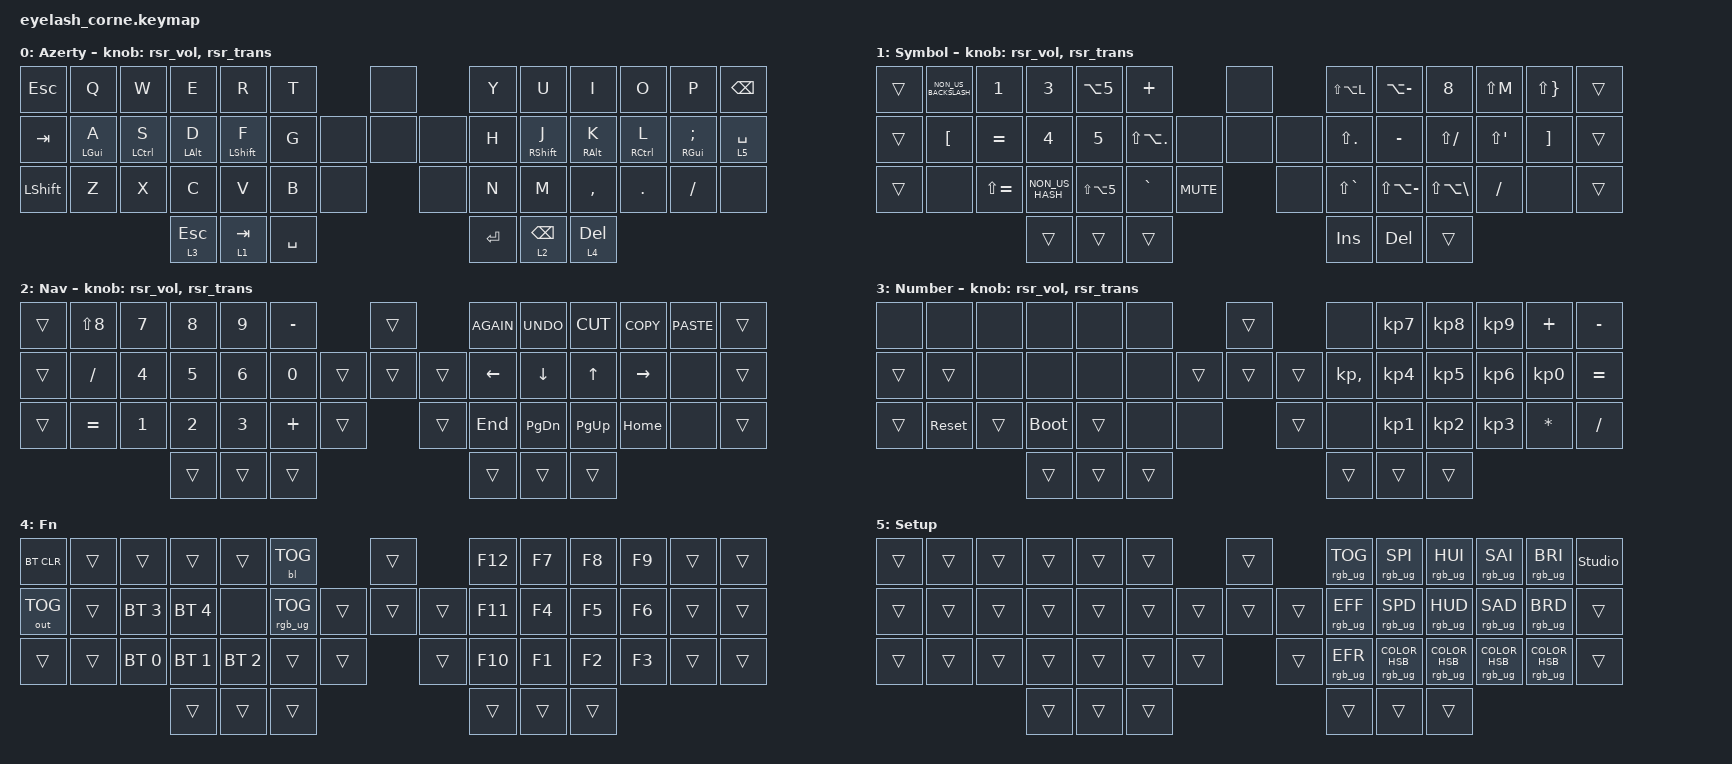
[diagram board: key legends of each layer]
#define ZMK_POINTING_DEFAULT_MOVE_VAL 1200  // 600
#define ZMK_POINTING_DEFAULT_SCRL_VAL 25   // 10

#include <input/processors.dtsi>
#include <zephyr/dt-bindings/input/input-event-codes.h>
#include <behaviors.dtsi>
// #include <dt-bindings/zmk/backlight.h> //was in my config before sync
#include <behaviors/runtime-sensor-rotate.dtsi>
#include <dt-bindings/zmk/bt.h>
#include <dt-bindings/zmk/keys.h>
#include <dt-bindings/zmk/outputs.h>
#include <dt-bindings/zmk/pointing.h>
#include <dt-bindings/zmk/rgb.h>

&soft_off { hold-time-ms = <2000>; };

&mt {
    flavor = "tap-preferred";
    quick-tap-ms = <150>;
};

&lt { quick-tap-ms = <150>; };

/ {
    behaviors {
        td0: td0 {
            compatible = "zmk,behavior-tap-dance";
            display-name = "Shift/Caps Lock Tap Dance";
            #binding-cells = <0>;
            bindings = <&kp LEFT_SHIFT>, <&kp CAPS>;
        };

        rsr_vol: rsr_vol {
            compatible = "zmk,behavior-runtime-sensor-rotate";
            #sensor-binding-cells = <0>;
            tap-ms = <5>;
            cw-binding = <&kp C_VOL_UP>;
            ccw-binding = <&kp C_VOL_DN>;
        };

        rsr_trans: rsr_trans {
            compatible = "zmk,behavior-runtime-sensor-rotate";
            #sensor-binding-cells = <0>;
            tap-ms = <0>;
        };
    };

    // French accent combos for AZERTY compatibility on macOS

    combos {
        compatible = "zmk,combos";

        ecute {
            bindings = <&kp NUMBER_2>;
            key-positions = <3 2>;
        };

        egrave {
            bindings = <&kp NUMBER_7>;
            key-positions = <3 4>;
        };

        ugrave {
            bindings = <&kp SINGLE_QUOTE>;
            key-positions = <7 8>;
        };

        agrave {
            bindings = <&kp NUMBER_0>;
            key-positions = <1 2>;
        };
    };

    keymap {
        compatible = "zmk,keymap";

        default_layer {
            display-name = "Azerty";
            bindings = <
&kp ESCAPE      &kp Q           &kp W               &kp E           &kp R             &kp T                      &none         &kp Y      &kp U              &kp I            &kp O                &kp P               &kp BSPC
&kp TAB         &mt LEFT_GUI A  &mt LEFT_CONTROL S  &mt LEFT_ALT D  &mt LEFT_SHIFT F  &kp G               &none  &none  &none  &kp H      &mt RIGHT_SHIFT J  &mt RIGHT_ALT K  &mt RIGHT_CONTROL L  &mt RIGHT_GUI SEMI  &lt 5 SPACE
&kp LEFT_SHIFT  &kp Z           &kp X               &kp C           &kp V             &kp B      &none           &none         &kp N      &kp M              &kp COMMA        &kp DOT              &kp FSLH            &none
                                                    &lt 3 ESCAPE    &lt 1 TAB         &kp SPACE                                &kp ENTER  &lt 2 BACKSPACE    &lt 4 DELETE
            >;

            sensor-bindings = <&rsr_vol &rsr_trans>;
        };

        Symbol {
            display-name = "Symbol";
            bindings = <
&trans  &kp NON_US_BACKSLASH  &kp NUMBER_1   &kp N3           &kp LA(N5)      &kp PLUS                                 &none         &kp LS(LA(L))   &kp LA(MINUS)      &kp N8                 &kp LS(M)     &kp LS(RIGHT_BRACE)  &trans
&trans  &kp LEFT_BRACKET      &kp EQUAL      &kp NUMBER_4     &kp N5          &kp LS(LA(PERIOD))                &none  &none  &none  &kp LS(PERIOD)  &kp MINUS          &kp LS(SLASH)          &kp LS(APOS)  &kp RIGHT_BRACKET    &trans
&trans  &none                 &kp LS(EQUAL)  &kp NON_US_HASH  &kp LS(LA(N5))  &kp GRAVE           &kp C_MUTE           &none         &kp LS(GRAVE)   &kp LS(LA(MINUS))  &kp LS(LA(BACKSLASH))  &kp SLASH     &none                &trans
                                             &trans           &trans          &trans                                                 &kp INS         &kp DEL            &trans
            >;

            sensor-bindings = <&rsr_vol &rsr_trans>;
        };

        Nav {
            display-name = "Nav";
            bindings = <
&trans  &kp LS(N8)  &kp NUMBER_7  &kp N8        &kp NUMBER_9  &kp MINUS                       &trans          &kp K_AGAIN  &kp K_UNDO     &kp K_CUT    &kp K_COPY  &kp K_PASTE  &trans
&trans  &kp SLASH   &kp NUMBER_4  &kp N5        &kp NUMBER_6  &kp NUMBER_0            &trans  &trans  &trans  &kp LEFT     &kp DOWN       &kp UP       &kp RIGHT   &none        &trans
&trans  &kp EQUAL   &kp NUMBER_1  &kp NUMBER_2  &kp NUMBER_3  &kp PLUS      &trans            &trans          &kp END      &kp PAGE_DOWN  &kp PAGE_UP  &kp HOME    &none        &trans
                                  &trans        &trans        &trans                                          &trans       &trans         &trans
            >;

            sensor-bindings = <&rsr_vol &rsr_trans>;
        };

        Number {
            display-name = "Number";
            bindings = <
&none   &none       &none   &none        &none   &none                    &trans          &none         &kp KP_NUMBER_7  &kp KP_NUMBER_8  &kp KP_NUMBER_9  &kp PLUS         &kp MINUS
&trans  &trans      &none   &none        &none   &none            &trans  &trans  &trans  &kp KP_COMMA  &kp KP_NUMBER_4  &kp KP_NUMBER_5  &kp KP_N6        &kp KP_NUMBER_0  &kp EQUAL
&trans  &sys_reset  &trans  &bootloader  &trans  &none   &none            &trans          &none         &kp KP_NUMBER_1  &kp KP_N2        &kp KP_NUMBER_3  &kp ASTERISK     &kp SLASH
                            &trans       &trans  &trans                                   &trans        &trans           &trans
            >;

            sensor-bindings = <&rsr_vol &rsr_trans>;
        };

        Fn {
            bindings = <
&bt BT_CLR    &trans  &trans        &trans        &trans        &bl BL_TOG                         &trans          &kp F12  &kp F7  &kp F8  &kp F9  &trans  &trans
&out OUT_TOG  &trans  &bt BT_SEL 3  &bt BT_SEL 4  &none         &rgb_ug RGB_TOG            &trans  &trans  &trans  &kp F11  &kp F4  &kp F5  &kp F6  &trans  &trans
&trans        &trans  &bt BT_SEL 0  &bt BT_SEL 1  &bt BT_SEL 2  &trans           &trans            &trans          &kp F10  &kp F1  &kp F2  &kp F3  &trans  &trans
                                    &trans        &trans        &trans                                             &trans   &trans  &trans
            >;

            label = "Fn";
        };

        Setup {
            bindings = <
&trans  &trans  &trans  &trans  &trans  &trans                    &trans          &rgb_ug RGB_TOG  &rgb_ug RGB_SPI                   &rgb_ug RGB_HUI                 &rgb_ug RGB_SAI                 &rgb_ug RGB_BRI                 &studio_unlock
&trans  &trans  &trans  &trans  &trans  &trans            &trans  &trans  &trans  &rgb_ug RGB_EFF  &rgb_ug RGB_SPD                   &rgb_ug RGB_HUD                 &rgb_ug RGB_SAD                 &rgb_ug RGB_BRD                 &trans
&trans  &trans  &trans  &trans  &trans  &trans  &trans            &trans          &rgb_ug RGB_EFR  &rgb_ug RGB_COLOR_HSB(188,68,37)  &rgb_ug RGB_COLOR_HSB(68,4,52)  &rgb_ug RGB_COLOR_HSB(0,32,93)  &rgb_ug RGB_COLOR_HSB(0,75,35)  &trans
                        &trans  &trans  &trans                                    &trans           &trans                            &trans
            >;

            label = "Setup";
        };
    };
};
